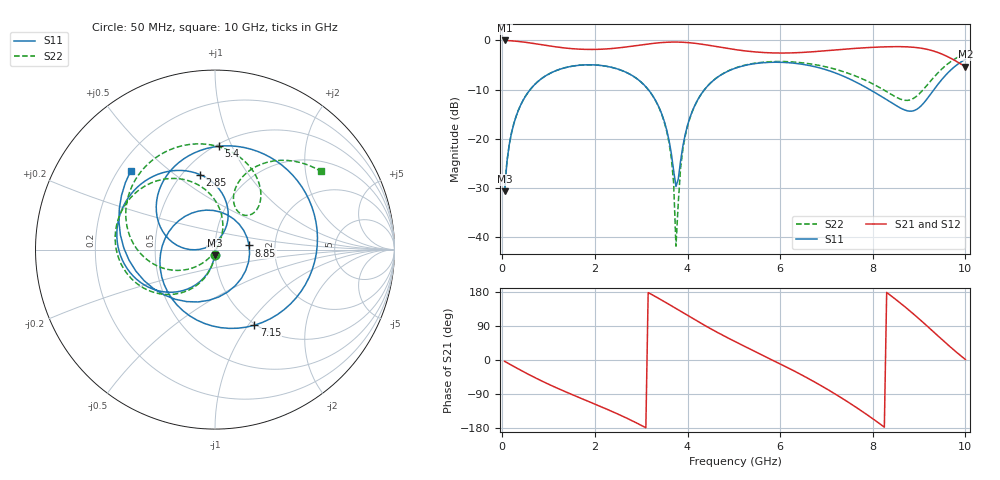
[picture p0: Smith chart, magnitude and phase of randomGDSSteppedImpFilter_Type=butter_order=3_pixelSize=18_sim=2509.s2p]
! freq	dB(S11)	phase(S11)	dB(S12)	phase(S12)
!  dB(S21)	phase(S21)	dB(S22)	phase(S22)
!S-par simulation data
#  GHz  S  DB  R 50
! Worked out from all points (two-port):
!   200 points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, 50 MHz to 10 GHz, reference 50 ohm
!   highest |S21| = -0.01 dB at 50 MHz (marker M1); lowest = -5.3 dB at 10 GHz (marker M2)
!   |S21| within 3 dB of the highest: start of sweep to 9.55 GHz
!   lowest |S11| = -30.7 dB at 50 MHz (marker M3), VSWR 1.06, Z = 49.7 - j2.91 ohm
!   |S11| at or under -10 dB: start of sweep to 602.3 MHz; 3.152 GHz to 4.367 GHz (1.215 GHz wide, 32.3 % of centre); 7.937 GHz to 9.321 GHz (1.385 GHz wide, 16 % of centre)
!   |S22| runs from -41.8 to -2.7 dB; largest |S21 - S12| = 0
!   S11 on the Smith chart (normalised r, x): 50 MHz: 0.99, -0.06; 2.85 GHz: 0.61, +0.62; 5.4 GHz: 0.52, +0.89; 7.15 GHz: 0.98, -1.07; 8.85 GHz: 1.47, +0.07; 10 GHz: 0.25, +0.37
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0.05  -30.67 -93.7  -0.01 -3.5  -0.01 -3.5  -30.67 -93.5
0.2  -18.76 -104.6  -0.08 -13.8  -0.08 -13.8  -18.76 -103.8
0.5  -11.36 -125.2  -0.38 -33.7  -0.38 -33.7  -11.36 -123.2
1.75  -4.99 162.2  -1.81 -103.7  -1.81 -103.7  -4.99 169.7
2.85  -7.41 101.3  -1.11 -163.1  -1.11 -163.1  -7.41 113.7
3.4  -13.94 68.5  -0.47 161.0  -0.47 161.0  -14.02 79.6
3.65  -22.98 67.6  -0.34 143.2  -0.34 143.2  -23.93 60.3
3.7  -26.45 79.4  -0.33 139.5  -0.33 139.5  -29.00 53.6
3.75  -29.71 111.1  -0.33 135.9  -0.33 135.9  -41.84 23.5
3.85  -24.50 172.3  -0.35 128.6  -0.35 128.6  -25.94 -123.7
4.05  -15.72 178.3  -0.47 114.0  -0.47 114.0  -15.86 -140.6
5.05  -5.59 112.4  -1.89 47.1  -1.89 47.1  -5.54 160.1
5.4  -4.79 88.0  -2.29 25.9  -2.29 25.9  -4.71 143.0
6.15  -4.51 31.9  -2.56 -19.4  -2.56 -19.4  -4.32 110.0
6.7  -5.24 -16.2  -2.31 -55.0  -2.31 -55.0  -4.84 87.6
7.15  -6.47 -62.5  -1.97 -86.9  -1.97 -86.9  -5.75 70.7
7.8  -9.28 -145.5  -1.51 -138.0  -1.51 -138.0  -7.92 50.5
8.35  -12.35 122.8  -1.28 173.6  -1.28 173.6  -10.70 43.7
8.85  -14.36 6.9  -1.37 124.5  -1.37 124.5  -11.93 61.8
9.4  -9.02 -128.5  -2.43 64.5  -2.43 64.5  -6.67 67.5
9.7  -5.88 179.0  -3.71 31.8  -3.71 31.8  -4.20 53.8
10  -3.84 136.9  -5.35 1.4  -5.35 1.4  -2.69 36.5
